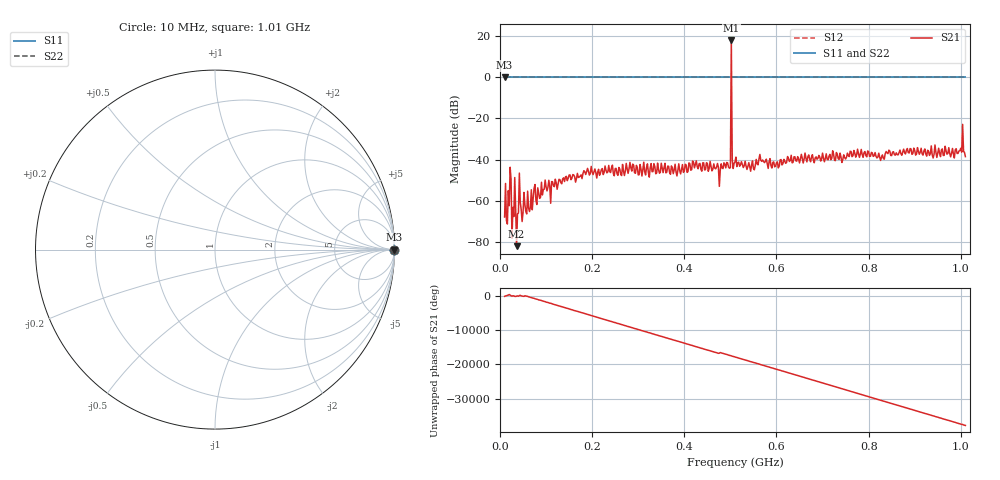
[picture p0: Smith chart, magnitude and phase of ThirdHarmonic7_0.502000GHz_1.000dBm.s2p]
! 8/17/2025 2:23:13 PM
! C:\ANRITSUVNA\TEMP\TEMP.S2P
! CHANNEL.1
! TR.MEASUREMENT
! RAW.DATA
! RF.CORRECTION.OFF
! AVERAGING.OFF
! IF.BANDWIDTH: 5KHZ
! SWEEPTYPE:  FREQ.SWEEP(Linear)
! Reference Plane Port Info
! PORT:  PORT1  PORT2
! DISTANCE:  0  m  0  m
! TIME:  0  s  0  s
! PHASE.OFFSET:  0  deg.  0  deg.
! LOSS:  0  dB  0  dB
! REF.LOSS:  0  dB  0  dB
! REF.FREQ:  0  Hz  0  Hz
! Power Info
! POWER:  -20  dBm  -20  dBm
! EFF.POWER:  -20  dBm  -20  dBm
! SOURCE.ATTEN:  0  dB  0  dB
! TEST.ATTEN:  0  dB  0  dB
# GHZ S RI R 50.0
! FREQ.GHZ  S11RE  S11IM  S21RE  S21IM  S12RE  S12IM  S22RE  S22IM
!; PortSelection: Port_12
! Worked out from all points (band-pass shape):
!   501 points, 10 MHz to 1.01 GHz, reference 50 ohm
!   highest |S21| = 17.88 dB at 502 MHz (marker M1); lowest = -82.1 dB at 36 MHz (marker M2)
!   |S21| within 3 dB of the highest: 501.9029 MHz to 502.1035 MHz (200.6 kHz wide, 0.04 % of centre)
!   lowest |S11| = 0.0 dB at 10 MHz (marker M3)
!   |S11| at or under -10 dB: nowhere
!   |S22| runs from 0.0 to 0.0 dB; largest |S21 - S12| = 8.8
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0.01  1 0  0.000303 -0.000264  1 0  1 0
0.02  1 0  -0.000547 0.000521  1 0  1 0
0.036  1 0  6.99e-05 3.6e-05  1 0  1 0
0.042  1 0  -0.00469 0.000141  1 0  1 0
0.06  1 0  0.00129 -0.00112  1 0  1 0
0.072  1 0  -0.00112 0.000285  1 0  1 0
0.082  1 0  -0.00129 0.0016  1 0  1 0
0.102  1 0  0.0014 0.00102  1 0  1 0
0.178  1 0  -0.00339 -0.000615  1 0  1 0
0.286  1 0  -0.00511 0.00118  1 0  1 0
0.344  1 0  0.0053 -0.00232  1 0  1 0
0.496  1 0  0.00639 0.00153  1 0  1 0
0.498  1 0  0.00342 -0.00513  1 0  1 0
0.502  1 0  -7.227 3.034  1 0  1 0
0.506  1 0  0.00596 -0.00113  1 0  1 0
0.508  1 0  0.000279 -0.00804  1 0  1 0
0.51  1 0  -0.00879 0.000393  1 0  1 0
0.678  1 0  0.00175 -0.013  1 0  1 0
0.844  1 0  -0.00229 0.0168  1 0  1 0
0.982  1 0  0.00617 -0.0175  1 0  1 0
1  1 0  0.00688 -0.0175  1 0  1 0
1.01  1 0  -0.00279 -0.0114  1 0  1 0
